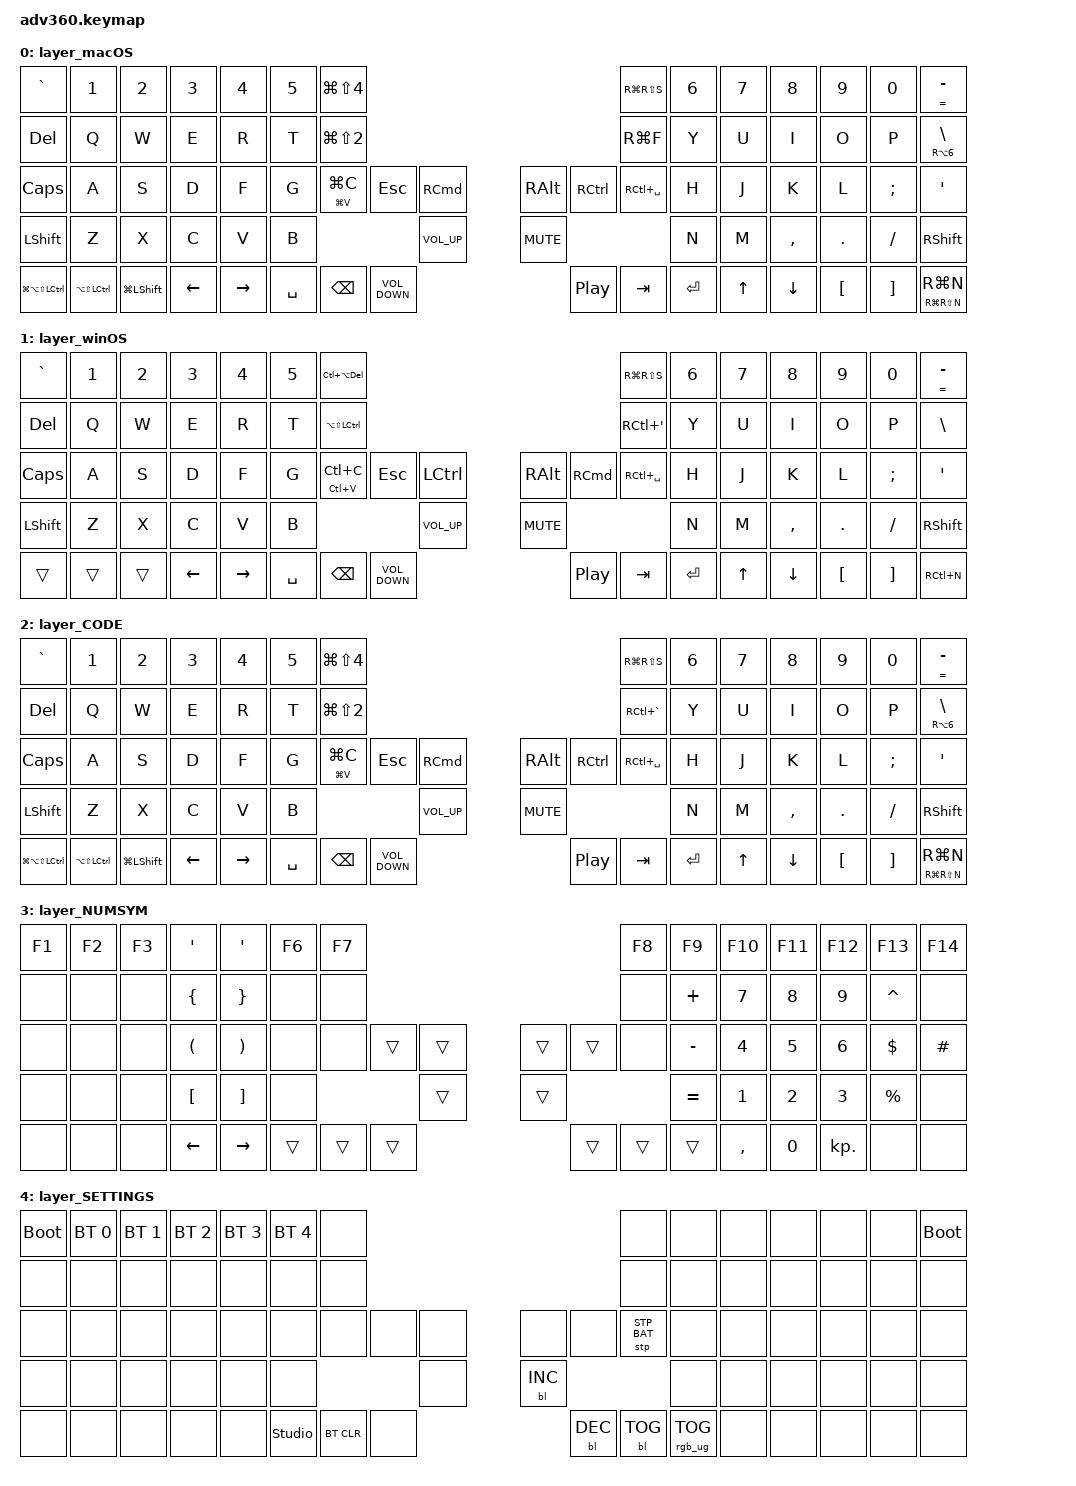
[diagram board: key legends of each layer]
/*
 * Copyright (c) 2020 The ZMK Contributors
 *
 * SPDX-License-Identifier: MIT
 */

#include <behaviors.dtsi>
#include <dt-bindings/zmk/keys.h>
#include <dt-bindings/zmk/bt.h>
#include <dt-bindings/zmk/rgb.h>
#include <dt-bindings/zmk/stp.h>
#include <dt-bindings/zmk/backlight.h>
#include <dt-bindings/zmk/pointing.h>

/ {
    combos {
        compatible = "zmk,combos";

        combo_numsymL {
            timeout-ms = <50>;
            key-positions = <31 32>;
            bindings = <&mo 3>;
                     };

        combo_numsymR {
            timeout-ms = <50>;
            key-positions = <41 42>;
            bindings = <&mo 3>;
                     };

        combo_windows {
            timeout-ms = <50>;
            key-positions = <15 16 17 18>;
            bindings = <&tog 1>;
                     };

        combo_code {
            timeout-ms = <50>;
            key-positions = <47 48 49 50>;
            bindings = <&tog 2>;
                     };

        combo_bltR {
            timeout-ms = <50>;
            key-positions = <6 20 34>;
            bindings = <&tog 4>;
                     };

        combo_bltL {
            timeout-ms = <50>;
            key-positions = <7 21 39>;
            bindings = <&tog 4>;
                     };

        combo_controlMAC {
            timeout-ms = <50>;
            key-positions = <49 50>;
            bindings = <&kp LEFT_CONTROL>;
            layers = <0>;
                     };

        combo_altWIN {
            timeout-ms = <50>;
            key-positions = <49 50>;
            bindings = <&kp LEFT_ALT>;
            layers = <1>;
                     };
          };
};

// Hold-tap behaviors
&mt {
    tapping-term-ms = <300>;
    flavor = "tap-preferred";
    quick-tap-ms = <200>;
};

/ {
    keymap {
        compatible = "zmk,keymap";


        layer_macOS{
            bindings = < 
      &kp GRAVE             &kp N1             &kp N2         &kp N3    &kp N4     &kp N5  &kp LG(LS(N4))                                                                                            &kp RG(RS(S))  &kp N6  &kp N7  &kp N8      &kp N9    &kp N0    &mt EQUAL MINUS
      &kp DEL               &kp Q              &kp W          &kp E     &kp R      &kp T   &kp LG(LS(N2))                                                                                            &kp RG(F)      &kp Y   &kp U   &kp I       &kp O     &kp P     &mt RA(NUMBER_6) BSLH
      &kp CAPSLOCK          &kp A              &kp S          &kp D     &kp F      &kp G   &mt LG(V) LG(C)                   &kp ESC   &kp RCMD           /**/  &kp RALT          &kp RIGHT_CONTROL   &kp RC(SPACE)  &kp H   &kp J   &kp K      &kp L     &kp SEMI  &kp SQT
      &kp LSHFT             &kp Z              &kp X          &kp C     &kp V      &kp B                                               &kp C_VOL_UP       /**/  &kp C_MUTE                                           &kp N   &kp M   &kp COMMA  &kp DOT   &kp FSLH  &kp RSHFT
      &kp LG(LA(LS(LCTRL))) &kp LA(LS(LCTRL))  &kp LG(LSHIFT)  &kp LEFT  &kp RIGHT                           &kp SPACE  &kp BACKSPACE  &kp C_VOLUME_DOWN  /**/  &kp C_PLAY_PAUSE  &kp TAB  &kp ENTER                         &kp UP  &kp DOWN   &kp LBKT  &kp RBKT  &mt RG(RS(N)) RG(N)
            >;
        };

        layer_winOS {
            bindings = <
      &kp GRAVE     &kp N1  &kp N2  &kp N3    &kp N4     &kp N5  &kp LC(LA(DEL))                                                                                             &kp RG(RS(S)) &kp N6  &kp N7  &kp N8     &kp N9    &kp N0    &mt EQUAL MINUS
      &kp DEL       &kp Q   &kp W   &kp E     &kp R      &kp T   &kp LA(LS(LCTRL))                                                                                           &kp RC(SQT)   &kp Y   &kp U   &kp I      &kp O     &kp P     &kp BSLH
      &kp CAPSLOCK  &kp A   &kp S   &kp D     &kp F      &kp G   &mt LC(V) LC(C)                     &kp ESC  &kp LEFT_CONTROL   /**/  &kp RALT          &kp RCMD            &kp RC(SPACE) &kp H   &kp J   &kp K      &kp L     &kp SEMI  &kp SQT
      &kp LSHFT     &kp Z   &kp X   &kp C     &kp V      &kp B                                                &kp C_VOL_UP       /**/  &kp C_MUTE                                          &kp N   &kp M   &kp COMMA  &kp DOT   &kp FSLH  &kp RSHFT
      &trans        &trans  &trans  &kp LEFT  &kp RIGHT                             &kp SPACE  &kp BACKSPACE  &kp C_VOLUME_DOWN  /**/  &kp C_PLAY_PAUSE  &kp TAB  &kp ENTER                        &kp UP  &kp DOWN   &kp LBKT  &kp RBKT  &kp RC(N)
            >;
        };

        layer_CODE {
            bindings = <
      &kp GRAVE             &kp N1             &kp N2         &kp N3    &kp N4     &kp N5  &kp LG(LS(N4))                                                                                            &kp RG(RS(S))  &kp N6  &kp N7  &kp N8     &kp N9    &kp N0    &mt EQUAL MINUS
      &kp DEL               &kp Q              &kp W          &kp E     &kp R      &kp T   &kp LG(LS(N2))                                                                                            &kp RC(GRAVE)  &kp Y   &kp U   &kp I      &kp O     &kp P     &mt RA(NUMBER_6) BSLH
      &kp CAPSLOCK          &kp A              &kp S          &kp D     &kp F      &kp G   &mt LG(V) LG(C)                   &kp ESC  &kp RCMD           /**/  &kp RALT          &kp RIGHT_CONTROL   &kp RC(SPACE)  &kp H   &kp J   &kp K      &kp L     &kp SEMI  &kp SQT
      &kp LSHFT             &kp Z              &kp X          &kp C     &kp V      &kp B                                              &kp C_VOL_UP       /**/  &kp C_MUTE                                           &kp N   &kp M   &kp COMMA  &kp DOT   &kp FSLH  &kp RSHFT
      &kp LG(LA(LS(LCTRL))) &kp LA(LS(LCTRL))  &kp LG(LSHIFT)  &kp LEFT  &kp RIGHT                          &kp SPACE  &kp BACKSPACE  &kp C_VOLUME_DOWN  /**/  &kp C_PLAY_PAUSE  &kp TAB  &kp ENTER                         &kp UP  &kp DOWN   &kp LBKT  &kp RBKT  &mt RG(RS(N)) RG(N)
            >;
        };

        layer_NUMSYM {
            bindings = <
      &kp F1 &kp F2  &kp F3  &kp SQT               &kp  APOS               &kp F6  &kp F7                                                      &kp F8  &kp F9     &kp F10    &kp F11  &kp F12     &kp F13      &kp F14
      &none  &none  &none    &kp LEFT_BRACE        &kp  RIGHT_BRACE        &none   &none                                                       &none   &kp PLUS   &kp N7     &kp N8  &kp N9       &kp CARET    &none 
      &none  &none  &none    &kp LEFT_PARENTHESIS  &kp  RIGHT_PARENTHESIS  &none   &none          &trans  &trans /**/  &trans  &trans          &none   &kp MINUS  &kp N4     &kp N5   &kp N6      &kp DOLLAR   &kp HASH 
      &none  &none  &none    &kp LEFT_BRACKET      &kp  RIGHT_BRACKET      &none                         &trans  /**/  &trans                          &kp EQUAL  &kp N1     &kp N2   &kp N3      &kp PERCENT  &none 
      &none  &none  &none    &kp LEFT              &kp  RIGHT                            &trans  &trans  &trans  /**/  &trans  &trans  &trans                     &kp COMMA  &kp N0   &kp KP_DOT  &none        &none 
            >;
        };

layer_SETTINGS {
            bindings = <
      &bootloader  &bt BT_SEL 0 &bt BT_SEL 1 &bt BT_SEL 2 &bt BT_SEL 3 &bt BT_SEL 4 &none                                                                                &none         &none  &none  &none  &none  &none  &bootloader
      &none        &none        &none        &none        &none        &none        &none                                                                                &none         &none  &none  &none  &none  &none  &none
      &none        &none        &none        &none        &none        &none        &none                   &none  &none  /**/  &none       &none                        &stp STP_BAT  &none  &none  &none  &none  &none  &none
      &none        &none        &none        &none        &none        &none                                       &none  /**/  &bl BL_INC                                             &none  &none  &none  &none  &none  &none
      &none        &none        &none        &none        &none                         &studio_unlock &bt BT_CLR  &none  /**/  &bl BL_DEC  &bl BL_TOG  &rgb_ug RGB_TOG                       &none  &none  &none  &none  &none
            >;
        };

    };
};
